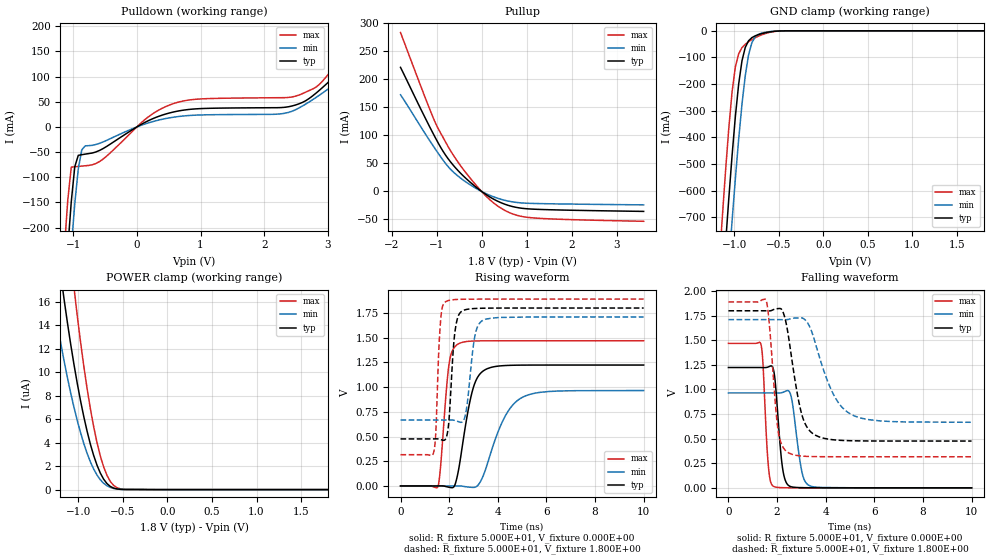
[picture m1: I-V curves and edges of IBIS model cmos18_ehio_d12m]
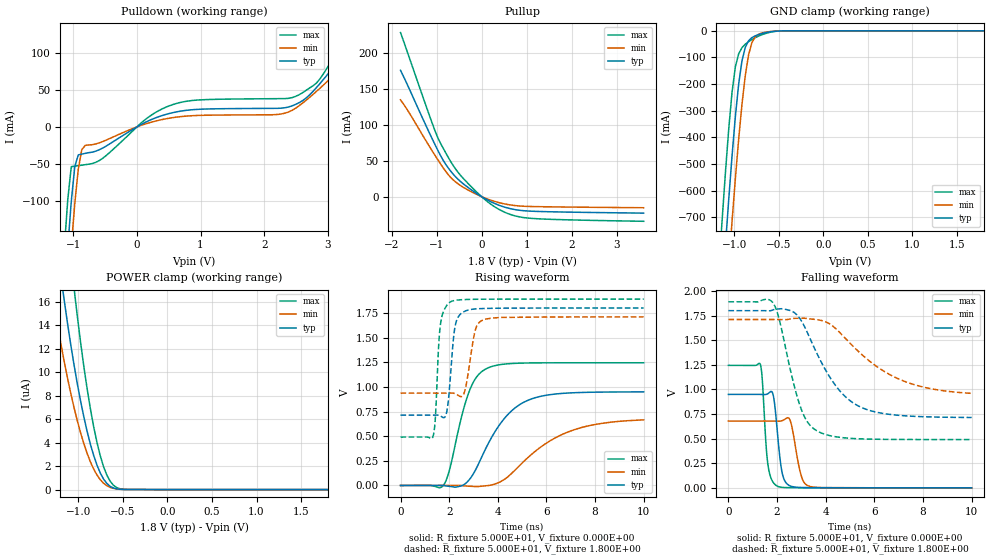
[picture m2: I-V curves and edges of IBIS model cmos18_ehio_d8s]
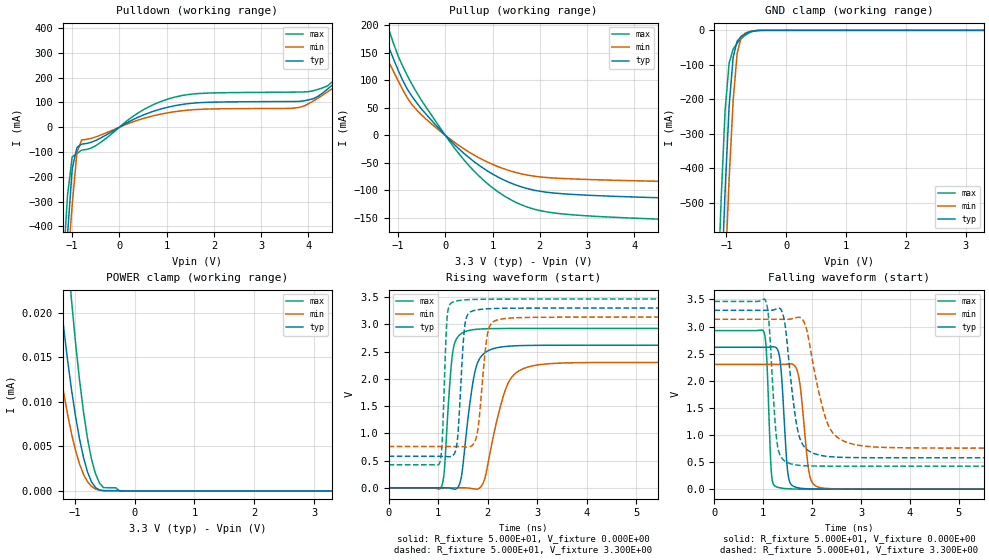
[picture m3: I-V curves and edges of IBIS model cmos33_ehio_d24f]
|   IBIS Models For EG20 Device By Anlogic
[IBIS ver] 3.2
[File name]  eg20.ibs
[File Rev]   1.0
[Date]   Aug.29 2018
[Source]   Anlogic EG Device, using HSPICE 2015.06
[Notes]   Revision History:
   Rev 0.1: Tue Jun.04 2018
   - Initial pre silicon model
   - Model data extracted from HSpice sim data
   Rev 1.0: Tue Aug.29 2018
   - Add model of LVDSTx
   Rev 1.1: Aug.09 2019
   - Add cmos15/12_ehio
   - Update cmos25_ehio_d4s
   - Optimized "non-monotonic" for IV tables
|Naming Nomenclature
All   models  follow  the   below   naming  method
Standard_I/O Type_Setting
Standard
ttl33   3.3V   LVTTL
ttl30   3.0V   LVTTL
ttl25   2.5V   LVTTL
ttl18   1.8V   LVTTL
cmos33  3.3V   LVCMOS
cmos30  3.0V   LVCMOS
cmos15  1.5V   LVCMOS
cmos12  1.2V   LVCMOS
pci   3.0V   PCI
pcix   3.0V   PCI-X
hstl18c1   1.8V   HSTL   Class   I
hstl15c1   1.5V   HSTL   Class   I
hstl12c1   1.2V   HSTL   Class   I
hstl18c2   1.8V   HSTL   Class   II
hstl15c2   1.5V   HSTL   Class   II
hstl12c2   1.2V   HSTL   Class   II
sstl2c1 2.5V   SSTL   Class   I
sstl18c1   1.8V   SSTL   Class   I
sstl2c2 2.5V   SSTL   Class   II
sstl18c2   1.8V   SSTL   Class   II
lvdse   2.5V   LVDS25E with 3 external Resistors
lvds   2.5V   LVDS
minilvds   2.5V   mini-LVDS
mlvds   2.5V   M-LVDS
ppds   2.5V   PPDS
rsds   2.5V   RSDS
blvds   2.5V   BLVDS
lvpecl25   2.5V   LVPECL
I/O Type
Enhanced IO Cell
ehio   I/O
ehin   input
ehou   output
ehod   Open drain
ehinp   Non-inverting differential input
ehinn   Inverting differential input
ehoup   Non-inverting differential output
ehoun   Inverting differential output
ehiop   Non-inverting differential I/O
ehion   Inverting differential I/O
Setting
d24   24mA   Current Strength
d20   20mA   Current Strength
d16   16mA   Current Strength
d12   12mA   Current Strength
d8   8mA   Current Strength
d4   4mA   Current Strength
ss   Slew   Rate: Slow
sm   Slew   Rate: Medium
sf   Slew   Rate: Fast
t100   100-Ohms   Differential   Resistor
vd150   LVDSTx VOD = 150mV
vd250   LVDSTx VOD = 250mV
vd350   LVDSTx VOD = 350mV
vd500   LVDSTx VOD = 500mV
vc1p2   LVDSTx VCM = 1.2V
vc0p9   LVDSTx VCM = 0.9V
vc0p8   LVDSTx VCM = 0.8V
vc0p6   LVDSTx VCM = 0.6V
pn   input without weak pullup or pulldown
pu   input with weak pullup
pd   input with weak pulldown
pk   input with buskeeper
pciclamp input with pciclamp
|Example: mlvds_ehio_d12f refers to 2.5V M-LVDS I/O standard with 12mA drive
|strength, and Fast slew rate setting of enhanced I/O  cell
[Disclaimer] Data is for modeling purposes only and is not guaranteed.
[Copyright] Copyright 2017 by Anlogic Corporation.
|   Component EG
[Component] EG
[Manufacturer] Anlogic Inc.
[Package]
| variable   typ   min   max
R_pkg   3.280E-01   1.710E-01   4.640E-01
L_pkg   6.640E-09   3.050E-09   1.170E-08
C_pkg   5.440E-13   3.020E-13   7.950E-13
[Pin]  signal_name   model_name   R_pin   L_pin   C_pin
1   cmos18_ehio_d12f   cmos18_ehio_d12f
2   cmos18_ehio_d12m   cmos18_ehio_d12m
3   cmos18_ehio_d12s   cmos18_ehio_d12s
4   cmos18_ehio_d8f   cmos18_ehio_d8f
5   cmos18_ehio_d8m   cmos18_ehio_d8m
6   cmos18_ehio_d8s   cmos18_ehio_d8s
7   cmos18_ehio_d4f   cmos18_ehio_d4f
8   cmos18_ehio_d4m   cmos18_ehio_d4m
9   cmos18_ehio_d4s   cmos18_ehio_d4s
10   cmos33_ehio_d24f   cmos33_ehio_d24f
11   cmos33_ehio_d24m   cmos33_ehio_d24m
12   cmos33_ehio_d24s   cmos33_ehio_d24s
13   cmos33_ehio_d20f   cmos33_ehio_d20f
14   cmos33_ehio_d20m   cmos33_ehio_d20m
15   cmos33_ehio_d20s   cmos33_ehio_d20s
16   cmos33_ehio_d16f   cmos33_ehio_d16f
17   cmos33_ehio_d16m   cmos33_ehio_d16m
18   cmos33_ehio_d16s   cmos33_ehio_d16s
19   cmos33_ehio_d12f   cmos33_ehio_d12f
20   cmos33_ehio_d12m   cmos33_ehio_d12m
21   cmos33_ehio_d12s   cmos33_ehio_d12s
22   cmos33_ehio_d8f   cmos33_ehio_d8f
23   cmos33_ehio_d8m   cmos33_ehio_d8m
24   cmos33_ehio_d8s   cmos33_ehio_d8s
25   cmos33_ehio_d4f   cmos33_ehio_d4f
26   cmos33_ehio_d4m   cmos33_ehio_d4m
27   cmos33_ehio_d4s   cmos33_ehio_d4s
28   cmos25_ehio_d20f   cmos25_ehio_d20f
29   cmos25_ehio_d20m   cmos25_ehio_d20m
30   cmos25_ehio_d20s   cmos25_ehio_d20s
31   cmos25_ehio_d16f   cmos25_ehio_d16f
32   cmos25_ehio_d16m   cmos25_ehio_d16m
33   cmos25_ehio_d16s   cmos25_ehio_d16s
34   cmos25_ehio_d12f   cmos25_ehio_d12f
35   cmos25_ehio_d12m   cmos25_ehio_d12m
36   cmos25_ehio_d12s   cmos25_ehio_d12s
37   cmos25_ehio_d8f   cmos25_ehio_d8f
38   cmos25_ehio_d8m   cmos25_ehio_d8m
39   cmos25_ehio_d8s   cmos25_ehio_d8s
40   cmos25_ehio_d4f   cmos25_ehio_d4f
41   cmos25_ehio_d4m   cmos25_ehio_d4m
42   cmos25_ehio_d4s   cmos25_ehio_d4s
43   lvdse_ehoup_d12f   cmos25_ehio_d12f
44   lvdse_ehoun_d12f   cmos25_ehio_d12f
45   lvdse_ehoup_d12m   cmos25_ehio_d12m
46   lvdse_ehoun_d12m   cmos25_ehio_d12m
47   lvdse_ehoup_d12s   cmos25_ehio_d12s
48   lvdse_ehoun_d12s   cmos25_ehio_d12s
49   lvdse_ehoup_d8f   cmos25_ehio_d8f
50   lvdse_ehoun_d8f   cmos25_ehio_d8f
51   lvdse_ehoup_d8m   cmos25_ehio_d8m
52   lvdse_ehoun_d8m   cmos25_ehio_d8m
53   lvdse_ehoup_d8s   cmos25_ehio_d8s
54   lvdse_ehoun_d8s   cmos25_ehio_d8s
55   lvds_ehoup   lvds_ehou
56   lvds_ehoun   lvds_ehou
57   cmos15_ehio_d8f   cmos15_ehio_d8f
58   cmos15_ehio_d8s   cmos15_ehio_d8s
59   cmos15_ehio_d4f   cmos15_ehio_d4f
60   cmos15_ehio_d4s   cmos15_ehio_d4s
61   cmos12_ehio_d4f   cmos12_ehio_d4f
62   cmos12_ehio_d4s   cmos12_ehio_d4s
63   cmos12_ehio_d2f   cmos12_ehio_d2f
64   cmos12_ehio_d2s   cmos12_ehio_d2s
65   lvpecl33e_ehio_d16m   lvpecl33e_ehio_d16m
66   lvpecl33e_ehio_d12m   lvpecl33e_ehio_d12m
[Diff Pin]  inv_pin   vdiff  tdelay_typ  tdelay_min  tdelay_max
43   44   0   NA   NA   NA
45   46   0   NA   NA   NA
47   48   0   NA   NA   NA
49   50   0   NA   NA   NA
51   52   0   NA   NA   NA
53   54   0   NA   NA   NA
55   56   0   NA   NA   NA
| Models and submodels in the file (53): cmos18_ehio_d12f (I/O), cmos18_ehio_d12m (I/O), cmos18_ehio_d12s (I/O), cmos18_ehio_d8f (I/O), cmos18_ehio_d8m (I/O), cmos18_ehio_d8s (I/O), cmos18_ehio_d4f (I/O), cmos18_ehio_d4m (I/O), cmos18_ehio_d4s (I/O), cmos33_ehio_d24f (I/O), cmos33_ehio_d24m (I/O), cmos33_ehio_d24s (I/O), cmos33_ehio_d20f (I/O), cmos33_ehio_d20m (I/O), cmos33_ehio_d20s (I/O), cmos33_ehio_d16f (I/O), cmos33_ehio_d16m (I/O), cmos33_ehio_d16s (I/O), cmos33_ehio_d12f (I/O), cmos33_ehio_d12m (I/O), cmos33_ehio_d12s (I/O), cmos33_ehio_d8f (I/O), cmos33_ehio_d8m (I/O), cmos33_ehio_d8s (I/O), cmos33_ehio_d4f (I/O), cmos33_ehio_d4m (I/O), cmos33_ehio_d4s (I/O), cmos25_ehio_d20f (I/O), cmos25_ehio_d20m (I/O), cmos25_ehio_d20s (I/O), cmos25_ehio_d16f (I/O), cmos25_ehio_d16m (I/O), cmos25_ehio_d16s (I/O), cmos25_ehio_d12f (I/O), cmos25_ehio_d12m (I/O), cmos25_ehio_d12s (I/O), cmos25_ehio_d8f (I/O), cmos25_ehio_d8m (I/O), cmos25_ehio_d8s (I/O), cmos25_ehio_d4f (I/O), cmos25_ehio_d4m (I/O), cmos25_ehio_d4s (I/O), lvds_ehou (I/O), cmos15_ehio_d8f (I/O), cmos15_ehio_d8s (I/O), cmos15_ehio_d4f (I/O), cmos15_ehio_d4s (I/O), cmos12_ehio_d4f (I/O), cmos12_ehio_d4s (I/O), cmos12_ehio_d2f (I/O), cmos12_ehio_d2s (I/O), lvpecl33e_ehio_d16m (I/O), lvpecl33e_ehio_d12m (I/O)
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|   Model cmos18_ehio_d12m
[Model] cmos18_ehio_d12m
Model_type I/O
Enable   Active-Low
Vinl =  6.300E-01
Vinh =  1.170E+00
Vmeas =  9.000E-01
C_comp   4.500E-12   4.200E-12   4.800E-12
[Temperature Range]   2.500E+01   8.500E+01   -4.000E+01
[Voltage Range]   1.800E+00   1.710E+00   1.890E+00
[POWER Clamp Reference]   1.800E+00   1.710E+00   1.890E+00
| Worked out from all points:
|   slope of the pulldown table from 0 to 0.27 V, typ, clamps not added: 15.5 ohm
|   slope of the pullup table from 0 to 0.27 V, typ, clamps not added: 19.4 ohm
|   GND clamp passes 1 mA (typ) near -0.51 V on its own axis
|   rising waveform, R_fixture 5.000E+01, V_fixture 0.000E+00: 20-80 % time 532ps typ, 938ps min, 286ps max; typ from 0 V to 1.22 V
|   rising waveform, R_fixture 5.000E+01, V_fixture 1.800E+00: 20-80 % time 212ps typ, 282ps min, 153ps max; typ from 0.476 V to 1.8 V
|   falling waveform, R_fixture 5.000E+01, V_fixture 0.000E+00: 20-80 % time 243ps typ, 315ps min, 180ps max; typ from 1.22 V to 0 V
|   falling waveform, R_fixture 5.000E+01, V_fixture 1.800E+00: 20-80 % time 552ps typ, 960ps min, 304ps max; typ from 1.8 V to 0.476 V
[Pulldown]
|Voltage   I(typ)   I(min)   I(max)
-1.8V     -1.456A    -1.43A     -1.488A
-1.14V    -336.7mA   -410.2mA   -244.8mA
-1.085V   -241.5mA   -325.7mA   -145.2mA
-1.03V    -148.4mA   -239.2mA   -79.78mA
-975mV    -78.94mA   -152.4mA   -79.11mA
-920mV    -56.39mA   -83.44mA   -78.45mA
-865mV    -55.16mA   -45.46mA   -77.78mA
-810mV    -53.94mA   -37.54mA   -77.11mA
565mV     29.38mA    19.13mA    45.97mA
2.27V     38.48mA    26.14mA    58.08mA
2.765V    62.16mA    54.45mA    75.61mA
3.6V      164mA      132.9mA    204.8mA
[Pullup]
|Voltage   I(typ)   I(min)   I(max)
-1.8V     221.3mA    172.4mA    283.4mA
-1.185V   120.4mA    94.65mA    153.4mA
-1.075V   103.2mA    81.26mA    131.5mA
-965mV    86.63mA    68.25mA    112.2mA
-745mV    58.55mA    44.44mA    80.26mA
-470mV    32.76mA    24.01mA    46.22mA
-30mV     1.816mA    1.276mA    2.701mA
300mV     -15.17mA   -10.58mA   -22.55mA
630mV     -25.76mA   -17.82mA   -38.21mA
1.015V    -30.96mA   -21.07mA   -46.14mA
1.785V    -33.19mA   -22.36mA   -49.77mA
3.6V      -35.62mA   -23.98mA   -53.28mA
[GND_clamp]
|Voltage   I(typ)   I(min)   I(max)
-1.8V     -4.476A    -4.588A    -4.346A
-1.134V   -984.3mA   -1.231A    -708mA
-1.097V   -804.1mA   -1.055A    -530mA
-1.06V    -631.1mA   -881.7mA   -367mA
-1.023V   -468.5mA   -714.2mA   -229.8mA
-986mV    -321.7mA   -554.9mA   -135.1mA
-912mV    -113mA     -276.1mA   -63.22mA
-838mV    -37.41mA   -90.54mA   -40.84mA
-801mV    -25.62mA   -44.79mA   -32.85mA
-727mV    -14.19mA   -13.08mA   -20.04mA
-542mV    -1.655mA   -1.246mA   -2.227mA
1.8V      0A         -2.319fA   0A
[POWER_clamp]
|Voltage   I(typ)   I(min)   I(max)
-1.8V     66.23uA    48.11uA    96.2uA
-1.308V   25.25uA    17.52uA    38.57uA
-1.271V   22.85uA    15.77uA    35.09uA
-1.16V    16.26uA    11uA       25.51uA
-1.049V   10.7uA     7.041uA    17.28uA
-1.012V   9.081uA    5.906uA    14.86uA
-938mV    6.214uA    3.929uA    10.52uA
-827mV    2.902uA    1.747uA    5.348uA
-753mV    1.414uA    841.6nA    2.872uA
-679mV    521.7nA    329.2nA    1.225uA
-494mV    10.42nA    12.97nA    27.69nA
1.8V      0A         0A         0A
[Ramp]
| variable   typ   min   max
dV/dt_r   7.339E-01/5.353E-10   5.791E-01/9.510E-10   8.812E-01/2.890E-10
dV/dt_f   7.945E-01/5.622E-10   6.260E-01/9.620E-10   9.443E-01/3.119E-10
R_load = 5.000E+01
[Rising Waveform]
R_fixture= 5.000E+01
V_fixture= 0.000E+00
V_fixture_min= 0.000E+00
V_fixture_max= 0.000E+00
|time   V(typ)   V(min)   V(max)
0s        0V         0V         0V
1.539ns   270.6uV    876.2nV    -5.297mV
1.639ns   735.4uV    1.589uV    175.4mV
1.987ns   -12.6mV    -25uV      1.217V
2.357ns   125.2mV    701.8uV    1.434V
2.937ns   943.9mV    -14.09mV   1.465V
3.446ns   1.171V     131.8mV    1.468V
4.223ns   1.217V     667.5mV    1.469V
5.022ns   1.222V     898mV      1.469V
10ns      1.223V     965.2mV    1.469V
[Rising Waveform]
R_fixture= 5.000E+01
V_fixture= 1.800E+00
V_fixture_min= 1.710E+00
V_fixture_max= 1.890E+00
|time   V(typ)   V(min)   V(max)
0s        475.8mV    666.5mV    316.1mV
1.354ns   476mV      666.5mV    332.9mV
1.449ns   476.3mV    666.5mV    533.7mV
1.652ns   470mV      666.5mV    1.684V
1.852ns   474.1mV    666.6mV    1.863V
2.243ns   1.568V     662.3mV    1.886V
2.507ns   1.765V     644mV      1.888V
3.077ns   1.795V     1.539V     1.89V
3.406ns   1.798V     1.678V     1.89V
10ns      1.8V       1.71V      1.89V
[Falling Waveform]
R_fixture= 5.000E+01
V_fixture= 0.000E+00
V_fixture_min= 0.000E+00
V_fixture_max= 0.000E+00
|time   V(typ)   V(min)   V(max)
0s        1.223V     965.2mV    1.469V
1.335ns   1.223V     965.2mV    1.46V
1.42ns    1.223V     965.2mV    1.262V
1.636ns   1.229V     965.2mV    240.2mV
1.856ns   1.197V     965mV      15.02mV
2.203ns   242mV      968.2mV    2.113mV
2.497ns   19.97mV    980.8mV    772.4uV
3.016ns   2.293mV    169.5mV    151.9uV
3.335ns   1.125mV    22.09mV    56.87uV
10ns      0V         1.075uV    0V
[Falling Waveform]
R_fixture= 5.000E+01
V_fixture= 1.800E+00
V_fixture_min= 1.710E+00
V_fixture_max= 1.890E+00
|time   V(typ)   V(min)   V(max)
0s        1.8V       1.71V      1.89V
1.55ns    1.8V       1.71V      1.905V
1.691ns   1.799V     1.71V      1.639V
2.031ns   1.822V     1.71V      603mV
2.446ns   1.575V     1.711V     360.3mV
3.016ns   746.7mV    1.727V     323.3mV
3.566ns   536.6mV    1.477V     317.5mV
4.327ns   488.4mV    946.5mV    316.3mV
5.037ns   479mV      748.4mV    316.1mV
10ns      475.8mV    666.6mV    316.1mV
|   Model cmos18_ehio_d8s
[Model] cmos18_ehio_d8s
Model_type I/O
Enable   Active-Low
Vinl =  6.300E-01
Vinh =  1.170E+00
Vmeas =  9.000E-01
C_comp   4.500E-12   4.200E-12   4.800E-12
[Temperature Range]   2.500E+01   8.500E+01   -4.000E+01
[Voltage Range]   1.800E+00   1.710E+00   1.890E+00
[POWER Clamp Reference]   1.800E+00   1.710E+00   1.890E+00
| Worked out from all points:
|   slope of the pulldown table from 0 to 0.27 V, typ, clamps not added: 23.5 ohm
|   slope of the pullup table from 0 to 0.27 V, typ, clamps not added: 30.2 ohm
|   GND clamp passes 1 mA (typ) near -0.51 V on its own axis
|   rising waveform, R_fixture 5.000E+01, V_fixture 0.000E+00: 20-80 % time 1.43ns typ, 2.18ns min, 789ps max; typ from 0 V to 0.949 V
|   rising waveform, R_fixture 5.000E+01, V_fixture 1.800E+00: 20-80 % time 229ps typ, 303ps min, 179ps max; typ from 0.713 V to 1.8 V
|   falling waveform, R_fixture 5.000E+01, V_fixture 0.000E+00: 20-80 % time 241ps typ, 310ps min, 198ps max; typ from 0.949 V to 0 V
|   falling waveform, R_fixture 5.000E+01, V_fixture 1.800E+00: 20-80 % time 1.55ns typ, 2.32ns min, 853ps max; typ from 1.8 V to 0.715 V
[Pulldown]
|Voltage   I(typ)   I(min)   I(max)
-1.8V     -1.009A    -996.8mA   -1.023A
-1.14V    -229.1mA   -282.4mA   -165.3mA
-1.085V   -163.5mA   -222.5mA   -98.34mA
-1.03V    -100.9mA   -162.5mA   -53.82mA
-975mV    -53.78mA   -104mA     -53.14mA
-865mV    -36.8mA    -30.79mA   -51.78mA
-810mV    -35.76mA   -24.86mA   -51.11mA
565mV     19.35mA    12.59mA    30.3mA
2.49V     30.39mA    25.18mA    41.24mA
2.875V    58.72mA    52.41mA    65.09mA
3.37V     112.8mA    94mA       137mA
3.6V      139.4mA    113.9mA    172.8mA
[Pullup]
|Voltage   I(typ)   I(min)   I(max)
-1.8V     175.4mA    134.4mA    227.8mA
-1.625V   152.3mA    118.1mA    196.6mA
-1.13V    84.68mA    66.85mA    107.8mA
-1.02V    70.4mA     55.92mA    89.17mA
-910mV    56.87mA    45.35mA    73.83mA
-690mV    35.72mA    26.96mA    49.15mA
-525mV    24.27mA    17.91mA    33.97mA
-195mV    8.006mA    5.723mA    11.66mA
135mV     -4.822mA   -3.372mA   -7.187mA
520mV     -14.72mA   -10.22mA   -21.84mA
960mV     -19.66mA   -13.4mA    -29.26mA
3.6V      -22.89mA   -15.41mA   -34.24mA
[GND_clamp]
|Voltage   I(typ)   I(min)   I(max)
-1.8V     -4.476A    -4.588A    -4.346A
-1.134V   -984.3mA   -1.231A    -708mA
-1.097V   -804.1mA   -1.055A    -530mA
-1.06V    -631.1mA   -881.7mA   -367mA
-1.023V   -468.5mA   -714.2mA   -229.8mA
-986mV    -321.7mA   -554.9mA   -135.1mA
-912mV    -113mA     -276.1mA   -63.22mA
-838mV    -37.41mA   -90.54mA   -40.84mA
-801mV    -25.62mA   -44.79mA   -32.85mA
-727mV    -14.19mA   -13.08mA   -20.04mA
-542mV    -1.655mA   -1.246mA   -2.227mA
1.8V      0A         -2.318fA   0A
[POWER_clamp]
|Voltage   I(typ)   I(min)   I(max)
-1.8V     66.23uA    48.11uA    96.2uA
-1.308V   25.25uA    17.52uA    38.57uA
-1.271V   22.85uA    15.77uA    35.09uA
-1.16V    16.26uA    11uA       25.51uA
-1.049V   10.7uA     7.041uA    17.28uA
-1.012V   9.081uA    5.906uA    14.86uA
-938mV    6.214uA    3.929uA    10.52uA
-827mV    2.902uA    1.747uA    5.348uA
-753mV    1.414uA    841.6nA    2.872uA
-679mV    521.7nA    329.2nA    1.225uA
-494mV    10.42nA    12.97nA    27.69nA
1.8V      0A         0A         0A
[Ramp]
| variable   typ   min   max
dV/dt_r   5.694E-01/1.435E-09   3.995E-01/2.181E-09   7.467E-01/7.928E-10
dV/dt_f   6.512E-01/1.568E-09   4.503E-01/2.335E-09   8.395E-01/8.615E-10
R_load = 5.000E+01
[Rising Waveform]
R_fixture= 5.000E+01
V_fixture= 0.000E+00
V_fixture_min= 0.000E+00
V_fixture_max= 0.000E+00
|time   V(typ)   V(min)   V(max)
0s        0V         0V         0V
1.767ns   -250.1uV   -6.055uV   1.819mV
2.027ns   -9.669mV   -17.16uV   170.4mV
2.786ns   46.81mV    -7.135mV   927.8mV
3.114ns   171.5mV    -11.56mV   1.095V
3.508ns   376.1mV    -3.25mV    1.182V
4.415ns   719.7mV    88.12mV    1.234V
5.415ns   880.2mV    321.1mV    1.243V
7.255ns   941.7mV    574mV      1.244V
10ns      949mV      665.5mV    1.244V
[Rising Waveform]
R_fixture= 5.000E+01
V_fixture= 1.800E+00
V_fixture_min= 1.710E+00
V_fixture_max= 1.890E+00
|time   V(typ)   V(min)   V(max)
0s        713.1mV    936.4mV    490.8mV
1.333ns   713.2mV    936.4mV    494.4mV
1.645ns   704.5mV    936.4mV    1.637V
1.884ns   729mV      936.7mV    1.819V
2.064ns   1.144V     937.7mV    1.863V
2.337ns   1.692V     919.1mV    1.88V
2.617ns   1.764V     938.8mV    1.886V
3.075ns   1.791V     1.574V     1.888V
3.405ns   1.795V     1.68V      1.889V
10ns      1.8V       1.71V      1.89V
[Falling Waveform]
R_fixture= 5.000E+01
V_fixture= 0.000E+00
V_fixture_min= 0.000E+00
V_fixture_max= 0.000E+00
|time   V(typ)   V(min)   V(max)
0s        949.3mV    678.7mV    1.244V
1.305ns   949.3mV    678.7mV    1.258V
1.616ns   955.6mV    678.7mV    250.2mV
1.845ns   937.1mV    678.5mV    54.03mV
2.036ns   502.8mV    677.3mV    14.48mV
2.34ns    61.72mV    700.3mV    3.213mV
2.547ns   19.01mV    678.9mV    2.021mV
2.977ns   3.983mV    138.2mV    1.021mV
3.297ns   2.569mV    18.79mV    667.9uV
10ns      5.72uV     66.88uV    0V
[Falling Waveform]
R_fixture= 5.000E+01
V_fixture= 1.800E+00
V_fixture_min= 1.710E+00
V_fixture_max= 1.890E+00
|time   V(typ)   V(min)   V(max)
0s        1.8V       1.71V      1.89V
1.842ns   1.809V     1.71V      1.877V
2.102ns   1.818V     1.71V      1.698V
2.94ns    1.719V     1.723V     837.1mV
3.232ns   1.584V     1.72V      676.5mV
3.632ns   1.369V     1.709V     580.5mV
4.56ns    991.4mV    1.582V     513.9mV
5.46ns    817.8mV    1.36V      497.7mV
7.33ns    730.8mV    1.074V     491.4mV
10ns      714.8mV    959.7mV    490.8mV
|   Model cmos33_ehio_d24f
[Model] cmos33_ehio_d24f
Model_type I/O
Enable   Active-Low
Vinl =  8.000E-01
Vinh =  2.000E+00
Vmeas =  1.650E+00
C_comp   4.500E-12   4.200E-12   4.800E-12
[Temperature Range]   2.500E+01   8.500E+01   -4.000E+01
[Voltage Range]   3.300E+00   3.135E+00   3.465E+00
[POWER Clamp Reference]   3.300E+00   3.135E+00   3.465E+00
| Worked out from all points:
|   slope of the pulldown table from 0 to 0.495 V, typ, clamps not added: 10.3 ohm
|   slope of the pullup table from 0 to 0.495 V, typ, clamps not added: 12.4 ohm
|   GND clamp passes 1 mA (typ) near -0.51 V on its own axis
|   rising waveform, R_fixture 5.000E+01, V_fixture 0.000E+00: 20-80 % time 221ps typ, 366ps min, 129ps max; typ from 0 V to 2.62 V
|   rising waveform, R_fixture 5.000E+01, V_fixture 3.300E+00: 20-80 % time 104ps typ, 145ps min, 72.4ps max; typ from 0.579 V to 3.3 V
|   falling waveform, R_fixture 5.000E+01, V_fixture 0.000E+00: 20-80 % time 105ps typ, 149ps min, 73.6ps max; typ from 2.62 V to 0 V
|   falling waveform, R_fixture 5.000E+01, V_fixture 3.300E+00: 20-80 % time 215ps typ, 356ps min, 127ps max; typ from 3.3 V to 0.579 V
[Pulldown]
|Voltage   I(typ)   I(min)   I(max)
-3.3V     -6.472A    -5.981A    -7.072A
-1.2V     -709.8mA   -810.1mA   -587mA
-1.1V     -435.2mA   -563.3mA   -275.7mA
-1V       -167.2mA   -311.6mA   -119.8mA
-900mV    -81.86mA   -101mA     -106.1mA
-800mV    -68.46mA   -51.46mA   -92.41mA
1.1V      83.54mA    60.23mA    117.3mA
3.9V      106mA      84.82mA    141.7mA
4.5V      168.6mA    154.6mA    181.8mA
5.5V      343.8mA    293.8mA    407.4mA
5.9V      417.3mA    352.1mA    501.8mA
6.6V      549.2mA    456.4mA    670mA
[Pullup]
|Voltage   I(typ)   I(min)   I(max)
-3.3V     589.9mA    482.2mA    713.5mA
-1.6V     248mA      205.5mA    300mA
-1.4V     204.2mA    169.5mA    246.3mA
-1.2V     160.7mA    133.9mA    192.9mA
-1V       118.5mA    99.17mA    144.2mA
-700mV    70.08mA    55.05mA    91.62mA
200mV     -17.39mA   -13.07mA   -23.75mA
900mV     -65mA      -48.78mA   -88.12mA
1.6V      -93.17mA   -69.59mA   -125.6mA
2.5V      -106mA     -78.33mA   -142.7mA
5.6V      -116.4mA   -85.74mA   -156.4mA
6.6V      -123.6mA   -91.15mA   -166.9mA
[GND_clamp]
|Voltage   I(typ)   I(min)   I(max)
-3.3V     -13.27A    -13.19A    -13.36A
-1.156V   -1.094A    -1.337A    -819.5mA
-1.089V   -767.1mA   -1.018A    -495.5mA
-1.022V   -466.7mA   -711mA     -232.4mA
-955mV    -221.7mA   -432.2mA   -95.74mA
-888mV    -78.86mA   -205.2mA   -54.97mA
-821mV    -31.69mA   -67.5mA    -37.18mA
-754mV    -17.67mA   -19.97mA   -24.38mA
-687mV    -10.19mA   -8.141mA   -14.58mA
-553mV    -2.019mA   -1.503mA   -2.763mA
-419mV    -87.67uA   -92.52uA   -70.16uA
3.3V      0A         0A         0A
[POWER_clamp]
|Voltage   I(typ)   I(min)   I(max)
-3.3V     274.8uA    208uA      379uA
-1.457V   37.35uA    24.22uA    60.83uA
-1.39V    32.14uA    20.55uA    53.14uA
-1.256V   22.74uA    14.02uA    39.05uA
-1.055V   11.4uA     6.455uA    21.51uA
-921mV    5.875uA    3.046uA    12.51uA
-854mV    3.77uA     1.871uA    8.882uA
-720mV    1.016uA    508.4nA    3.563uA
-653mV    378.7nA    211.4nA    1.919uA
-519mV    33.74nA    28.05nA    366.5nA
-251mV    15.63nA    21.96nA    13.64nA
3.3V      0A         0A         0A
[Ramp]
| variable   typ   min   max
dV/dt_r   1.571E+00/2.239E-10   1.381E+00/3.683E-10   1.756E+00/1.340E-10
dV/dt_f   1.633E+00/2.194E-10   1.426E+00/3.563E-10   1.825E+00/1.324E-10
R_load = 5.000E+01
[Rising Waveform]
R_fixture= 5.000E+01
V_fixture= 0.000E+00
V_fixture_min= 0.000E+00
V_fixture_max= 0.000E+00
|time   V(typ)   V(min)   V(max)
0s        0V         0V         0V
1.058ns   301uV      0V         3.222mV
1.126ns   1.164mV    2.277uV    324.1mV
1.296ns   -17.4mV    -46.86uV   2.498V
1.457ns   145.4mV    848.4uV    2.824V
1.567ns   986.5mV    -920.1uV   2.875V
1.849ns   2.387V     4.881mV    2.915V
2.389ns   2.597V     1.873V     2.925V
2.809ns   2.614V     2.217V     2.926V
10ns      2.618V     2.302V     2.926V
[Rising Waveform]
R_fixture= 5.000E+01
V_fixture= 3.300E+00
V_fixture_min= 3.135E+00
V_fixture_max= 3.465E+00
|time   V(typ)   V(min)   V(max)
0s        578.8mV    757.7mV    424mV
1.029ns   579mV      757.7mV    453.6mV
1.079ns   579.1mV    757.7mV    800.8mV
1.183ns   574.3mV    757.7mV    3.142V
1.321ns   615.5mV    757.9mV    3.418V
1.535ns   2.95V      751.7mV    3.45V
1.709ns   3.25V      798.5mV    3.458V
1.994ns   3.286V     2.81V      3.463V
2.184ns   3.293V     3.08V      3.464V
10ns      3.3V       3.135V     3.465V
[Falling Waveform]
R_fixture= 5.000E+01
V_fixture= 0.000E+00
V_fixture_min= 0.000E+00
V_fixture_max= 0.000E+00
|time   V(typ)   V(min)   V(max)
0s        2.618V     2.302V     2.926V
1.014ns   2.618V     2.302V     2.896V
1.065ns   2.618V     2.302V     2.507V
1.164ns   2.624V     2.302V     325.5mV
1.287ns   2.583V     2.302V     37.52mV
1.497ns   338.7mV    2.308V     7.959mV
1.665ns   36.5mV     2.249V     2.895mV
1.941ns   6.209mV    290.7mV    683.8uV
2.12ns    2.871mV    39.77mV    282.3uV
10ns      0V         0V         0V
[Falling Waveform]
R_fixture= 5.000E+01
V_fixture= 3.300E+00
V_fixture_min= 3.135E+00
V_fixture_max= 3.465E+00
|time   V(typ)   V(min)   V(max)
0s        3.3V       3.135V     3.465V
1.045ns   3.3V       3.135V     3.484V
1.115ns   3.298V     3.135V     3.09V
1.284ns   3.333V     3.135V     843.5mV
1.427ns   3.132V     3.134V     528.2mV
1.537ns   2.242V     3.137V     475.7mV
1.816ns   811.1mV    3.112V     433.9mV
2.316ns   603.7mV    1.209V     424.9mV
2.756ns   584mV      849.7mV    424.1mV
10ns      578.8mV    757.7mV    424mV
